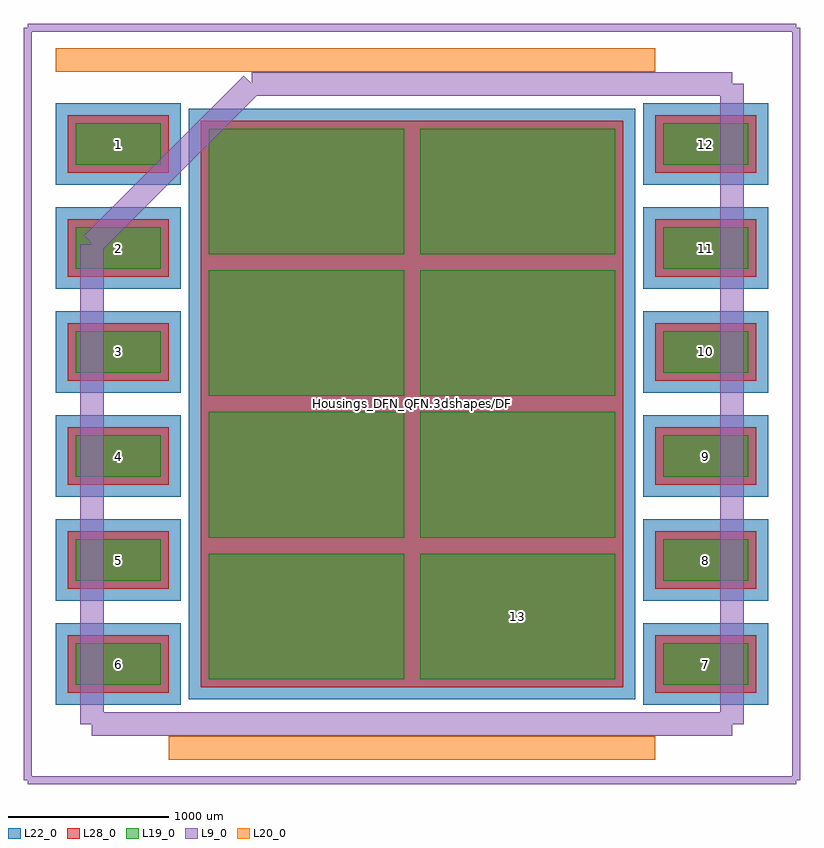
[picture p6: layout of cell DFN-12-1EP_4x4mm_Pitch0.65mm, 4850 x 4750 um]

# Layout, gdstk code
import gdstk
lib = gdstk.Library(unit=1e-6, precision=1e-09)
def R(c, l, rs):  # rectangles x0, y0, x1, y1
    for r in rs: c.add(gdstk.rectangle(r[:2], r[2:], *l))
def A(c, l, x, y, w, h, nx, ny, dx, dy):  # array of equal rectangles
    R(c, l, [(x+i*dx, y+j*dy, x+i*dx+w, y+j*dy+h) for i in range(nx) for j in range(ny)])
L9_0 = (9, 0)
L19_0 = (19, 0)
L20_0 = (20, 0)
L22_0 = (22, 0)
L28_0 = (28, 0)

dfn_12_1ep_4x4mm_pitch0_ = lib.new_cell('DFN-12-1EP_4x4mm_Pitch0.65mm')
A(dfn_12_1ep_4x4mm_pitch0_, L19_0, -2100, -1755, 530, 260, 1, 6, 0, 650)
A(dfn_12_1ep_4x4mm_pitch0_, L19_0, 1570, -1755, 530, 260, 1, 6, 0, 650)
A(dfn_12_1ep_4x4mm_pitch0_, L19_0, -1270, -1720, 1220, 785, 1, 4, 0, 885)
A(dfn_12_1ep_4x4mm_pitch0_, L19_0, 50, -1720, 1220, 785, 1, 4, 0, 885)
A(dfn_12_1ep_4x4mm_pitch0_, L22_0, -2225, -1880, 780, 510, 1, 6, 0, 650)
A(dfn_12_1ep_4x4mm_pitch0_, L22_0, 1445, -1880, 780, 510, 1, 6, 0, 650)
A(dfn_12_1ep_4x4mm_pitch0_, L22_0, -1395, -1845, 1470, 1035, 1, 4, 0, 885)
A(dfn_12_1ep_4x4mm_pitch0_, L22_0, -75, -1845, 1470, 1035, 1, 4, 0, 885)
A(dfn_12_1ep_4x4mm_pitch0_, L28_0, -2150, -1805, 630, 360, 1, 6, 0, 650)
A(dfn_12_1ep_4x4mm_pitch0_, L28_0, 1520, -1805, 630, 360, 1, 6, 0, 650)
A(dfn_12_1ep_4x4mm_pitch0_, L28_0, -1320, -1770, 1320, 885, 1, 4, 0, 885)
A(dfn_12_1ep_4x4mm_pitch0_, L28_0, 0, -1770, 1320, 885, 1, 4, 0, 885)
dfn_12_1ep_4x4mm_pitch0_.add(gdstk.FlexPath([(-2225,2150),(1520,2150)], 149.998, ends="flush", simple_path=True, layer=20, datatype=0))  # L20_0
dfn_12_1ep_4x4mm_pitch0_.add(gdstk.FlexPath([(-1520,-2150),(1520,-2150)], 149.998, ends="flush", simple_path=True, layer=20, datatype=0))  # L20_0
dfn_12_1ep_4x4mm_pitch0_.add(gdstk.FlexPath([(-2400,-2350),(2400,-2350)], 50, ends="flush", simple_path=True, layer=9, datatype=0))  # L9_0
dfn_12_1ep_4x4mm_pitch0_.add(gdstk.FlexPath([(-2400,2350),(2400,2350)], 50, ends="flush", simple_path=True, layer=9, datatype=0))  # L9_0
dfn_12_1ep_4x4mm_pitch0_.add(gdstk.FlexPath([(2400,2350),(2400,-2350)], 50, ends="flush", simple_path=True, layer=9, datatype=0))  # L9_0
dfn_12_1ep_4x4mm_pitch0_.add(gdstk.FlexPath([(-2400,2350),(-2400,-2350)], 50, ends="flush", simple_path=True, layer=9, datatype=0))  # L9_0
dfn_12_1ep_4x4mm_pitch0_.add(gdstk.FlexPath([(-2000,1000),(-1000,2000)], 149.998, ends="flush", simple_path=True, layer=9, datatype=0))  # L9_0
dfn_12_1ep_4x4mm_pitch0_.add(gdstk.FlexPath([(-2000,-2000),(-2000,1000)], 149.998, ends="flush", simple_path=True, layer=9, datatype=0))  # L9_0
dfn_12_1ep_4x4mm_pitch0_.add(gdstk.FlexPath([(2000,-2000),(-2000,-2000)], 149.998, ends="flush", simple_path=True, layer=9, datatype=0))  # L9_0
dfn_12_1ep_4x4mm_pitch0_.add(gdstk.FlexPath([(2000,2000),(2000,-2000)], 149.998, ends="flush", simple_path=True, layer=9, datatype=0))  # L9_0
dfn_12_1ep_4x4mm_pitch0_.add(gdstk.FlexPath([(-1000,2000),(2000,2000)], 149.998, ends="flush", simple_path=True, layer=9, datatype=0))  # L9_0
dfn_12_1ep_4x4mm_pitch0_.add(gdstk.Label('Housings_DFN_QFN.3dshapes/DFN-12-1EP_4x4mm_Pitch0.65mm.wrl', (0,0), layer=12, texttype=0))
dfn_12_1ep_4x4mm_pitch0_.add(gdstk.Label('13', (660,-1327.5), layer=28, texttype=0))
dfn_12_1ep_4x4mm_pitch0_.add(gdstk.Label('12', (1835,1625), layer=28, texttype=0))
dfn_12_1ep_4x4mm_pitch0_.add(gdstk.Label('11', (1835,975), layer=28, texttype=0))
dfn_12_1ep_4x4mm_pitch0_.add(gdstk.Label('10', (1835,325), layer=28, texttype=0))
dfn_12_1ep_4x4mm_pitch0_.add(gdstk.Label('9', (1835,-325), layer=28, texttype=0))
dfn_12_1ep_4x4mm_pitch0_.add(gdstk.Label('8', (1835,-975), layer=28, texttype=0))
dfn_12_1ep_4x4mm_pitch0_.add(gdstk.Label('7', (1835,-1625), layer=28, texttype=0))
dfn_12_1ep_4x4mm_pitch0_.add(gdstk.Label('6', (-1835,-1625), layer=28, texttype=0))
dfn_12_1ep_4x4mm_pitch0_.add(gdstk.Label('5', (-1835,-975), layer=28, texttype=0))
dfn_12_1ep_4x4mm_pitch0_.add(gdstk.Label('4', (-1835,-325), layer=28, texttype=0))
dfn_12_1ep_4x4mm_pitch0_.add(gdstk.Label('3', (-1835,325), layer=28, texttype=0))
dfn_12_1ep_4x4mm_pitch0_.add(gdstk.Label('2', (-1835,975), layer=28, texttype=0))
dfn_12_1ep_4x4mm_pitch0_.add(gdstk.Label('1', (-1835,1625), layer=28, texttype=0))
dfn_12_1ep_4x4mm_pitch0_.add(gdstk.Label('type', (0,-3075), layer=9, texttype=0))
dfn_12_1ep_4x4mm_pitch0_.add(gdstk.Label('devicename', (0,3075), layer=9, texttype=0))

lib.write_gds('DFN-12-1EP_4x4mm_Pitch0.65mm.gds')
